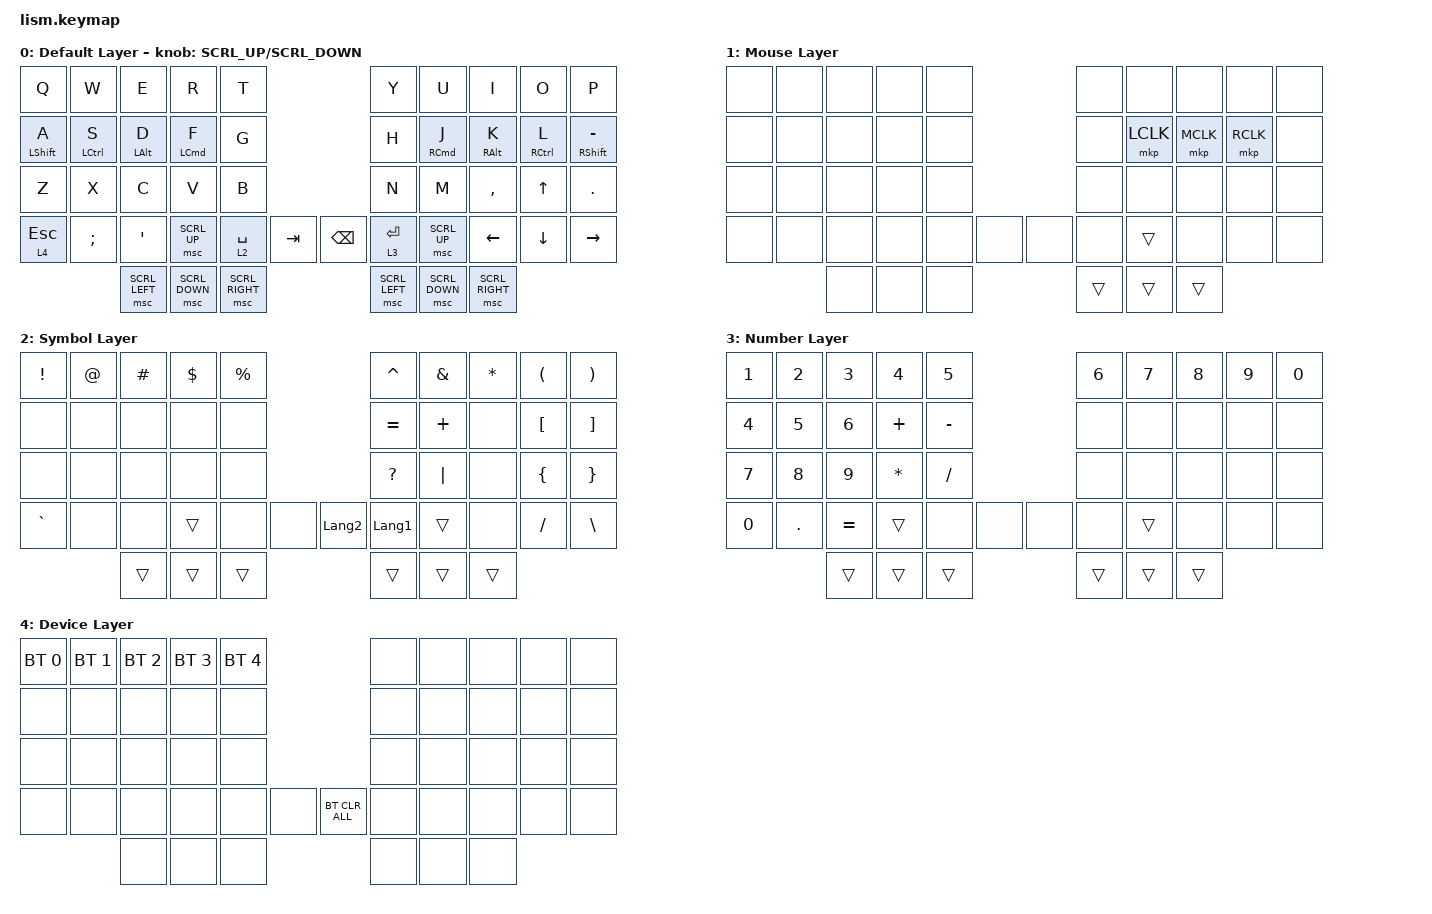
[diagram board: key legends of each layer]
#define ZMK_POINTING_DEFAULT_SCRL_VAL 200

#include <dt-bindings/zmk/mouse.h>
#include <behaviors.dtsi>
#include <dt-bindings/zmk/bt.h>
#include <dt-bindings/zmk/keys.h>
#include <dt-bindings/zmk/pointing.h>

&mt {
    tapping-term-ms = <300>;
    flavor = "balanced";
};

&lt { quick-tap-ms = <300>; };

/ {
    behaviors {
        encoder_msc: sensor_rotate_msc {
            compatible = "zmk,behavior-sensor-rotate-var";
            #sensor-binding-cells = <2>;
            bindings = <&msc>, <&msc>;

            tap-ms = <20>;
        };

        encoder_kp: sensor_rotate_kp {
            compatible = "zmk,behavior-sensor-rotate-var";
            #sensor-binding-cells = <2>;
            bindings = <&kp>, <&kp>;
        };
    };

    keymap {
        compatible = "zmk,keymap";

        default_layer {
            display-name = "Default Layer";
            bindings = <
&kp Q             &kp W               &kp E             &kp R               &kp T                                      &kp Y           &kp U                &kp I            &kp O                &kp P
&mt LEFT_SHIFT A  &mt LEFT_CONTROL S  &mt LEFT_ALT D    &mt LEFT_COMMAND F  &kp G                                      &kp H           &mt RIGHT_COMMAND J  &mt RIGHT_ALT K  &mt RIGHT_CONTROL L  &mt RIGHT_SHIFT MINUS
&kp Z             &kp X               &kp C             &kp V               &kp B                                      &kp N           &kp M                &kp COMMA        &kp UP               &kp DOT
&lt 4 ESCAPE      &kp SEMICOLON       &kp SINGLE_QUOTE  &msc SCRL_UP        &lt 2 SPACE      &kp TAB    &kp BACKSPACE  &lt 3 ENTER     &msc SCRL_UP         &kp LEFT         &kp DOWN             &kp RIGHT
                                      &msc SCRL_LEFT    &msc SCRL_DOWN      &msc SCRL_RIGHT                            &msc SCRL_LEFT  &msc SCRL_DOWN       &msc SCRL_RIGHT
            >;

            sensor-bindings = <&encoder_msc SCRL_UP SCRL_DOWN>;
        };

        layer_1 {
            bindings = <
&none  &none  &none  &none  &none                  &none   &none      &none      &none      &none
&none  &none  &none  &none  &none                  &none   &mkp LCLK  &mkp MCLK  &mkp RCLK  &none
&none  &none  &none  &none  &none                  &none   &none      &none      &none      &none
&none  &none  &none  &none  &none  &none    &none  &none   &trans     &none      &none      &none
              &none  &none  &none                  &trans  &trans     &trans
            >;

            label = "Mouse Layer";
        };

        layer_2 {
            display-name = "Symbol Layer";
            bindings = <
&kp EXCLAMATION  &kp AT_SIGN  &kp HASH  &kp DOLLAR  &kp PERCENT                           &kp CARET       &kp AMPERSAND  &kp ASTERISK  &kp LEFT_PARENTHESIS  &kp RIGHT_PARENTHESIS
&none            &none        &none     &none       &none                                 &kp EQUAL       &kp PLUS       &none         &kp LEFT_BRACKET      &kp RIGHT_BRACKET
&none            &none        &none     &none       &none                                 &kp QUESTION    &kp PIPE       &none         &kp LEFT_BRACE        &kp RIGHT_BRACE
&kp GRAVE        &none        &none     &trans      &none        &none    &kp LANGUAGE_2  &kp LANGUAGE_1  &trans         &none         &kp SLASH             &kp BACKSLASH
                              &trans    &trans      &trans                                &trans          &trans         &trans
            >;
        };

        layer_3 {
            display-name = "Number Layer";
            bindings = <
&kp N1  &kp N2      &kp N3     &kp N4        &kp N5                     &kp N6  &kp N7  &kp N8  &kp N9  &kp N0
&kp N4  &kp N5      &kp N6     &kp PLUS      &kp MINUS                  &none   &none   &none   &none   &none
&kp N7  &kp N8      &kp N9     &kp ASTERISK  &kp SLASH                  &none   &none   &none   &none   &none
&kp N0  &kp PERIOD  &kp EQUAL  &trans        &none      &none    &none  &none   &trans  &none   &none   &none
                    &trans     &trans        &trans                     &trans  &trans  &trans
            >;
        };

        layer_4 {
            bindings = <
&bt BT_SEL 0  &bt BT_SEL 1  &bt BT_SEL 2  &bt BT_SEL 3  &bt BT_SEL 4                           &none  &none  &none  &none  &none
&none         &none         &none         &none         &none                                  &none  &none  &none  &none  &none
&none         &none         &none         &none         &none                                  &none  &none  &none  &none  &none
&none         &none         &none         &none         &none         &none    &bt BT_CLR_ALL  &none  &none  &none  &none  &none
                            &none         &none         &none                                  &none  &none  &none
            >;

            label = "Device Layer";
        };
    };
};
